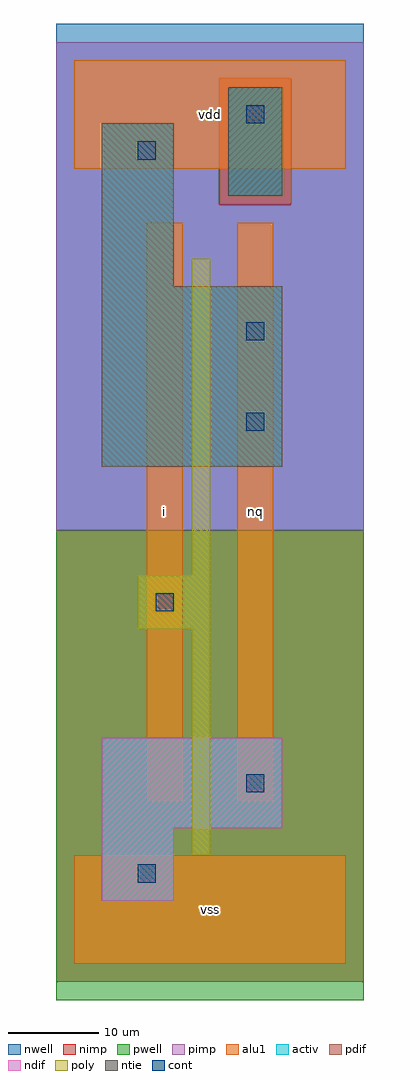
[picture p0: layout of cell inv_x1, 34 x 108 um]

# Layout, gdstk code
import gdstk
lib = gdstk.Library(unit=1e-6, precision=1e-09)
def R(c, l, rs):  # rectangles x0, y0, x1, y1
    for r in rs: c.add(gdstk.rectangle(r[:2], r[2:], *l))
ndif = (3, 0)
pdif = (4, 0)
ntie = (5, 0)
cont = (25, 0)
pwell = (41, 0)
nwell = (42, 0)
activ = (43, 0)
pimp = (44, 0)
nimp = (45, 0)
poly = (46, 0)
alu1 = (49, 0)

inv_x1 = lib.new_cell('inv_x1')
R(inv_x1, ndif, [(3,7,11,15), (3,15,23,25)])
R(inv_x1, pdif, [(3,55,23,75), (3,75,11,93)])
R(inv_x1, ntie, [(17,85,23,97)])
R(inv_x1, cont, [(7,9,9,11), (19,19,21,21), (9,39,11,41), (19,59,21,61), (19,69,21,71), (7,89,9,91), (19,93,21,95)])
R(inv_x1, pwell, [(-2,-4,32,48)])
R(inv_x1, nwell, [(-2,48,32,104)])
R(inv_x1, activ, [(3,7,11,15), (3,15,23,25), (3,55,23,75), (3,75,11,93), (17,85,23,97)])
R(inv_x1, pimp, [(-2,48,32,84), (-2,84,16,98), (24,84,32,98), (-2,98,32,102)])
R(inv_x1, nimp, [(-2,-2,32,48), (16,84,24,98)])
R(inv_x1, poly, [(13,12,15,37), (7,37,15,43), (13,43,15,78)])
R(inv_x1, alu1, [(0,0,30,12), (8,18,12,82), (18,18,22,82), (0,88,30,100)])
inv_x1.add(gdstk.Label('vss', (15,6), layer=49, texttype=0))
inv_x1.add(gdstk.Label('i', (10,50), layer=49, texttype=0))
inv_x1.add(gdstk.Label('vdd', (15,94), layer=49, texttype=0))
inv_x1.add(gdstk.Label('nq', (20,50), layer=49, texttype=0))

lib.write_gds('inv_x1.gds')
